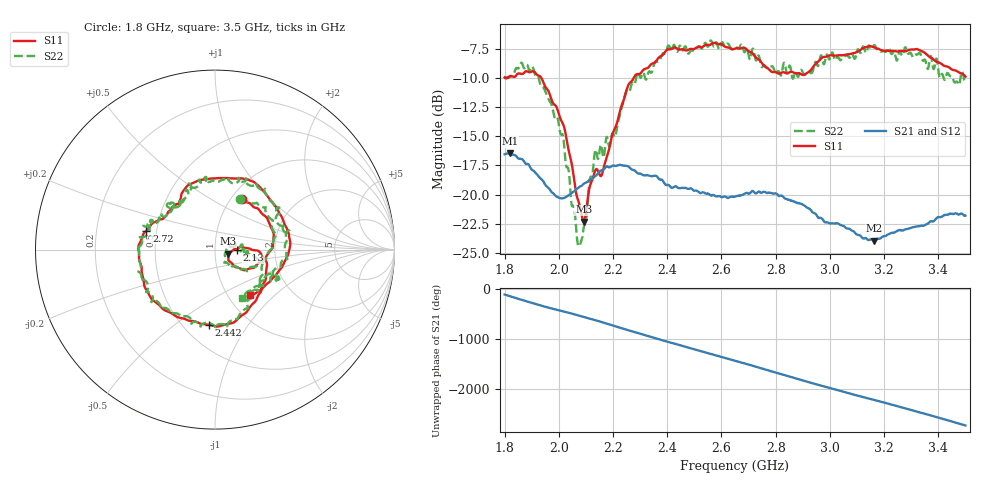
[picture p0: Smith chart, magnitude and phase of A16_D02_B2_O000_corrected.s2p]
! Created with skrf 1.9.0 (http://scikit-rf.org).
# Hz S RI R 50.0
!freq ReS11 ImS11 ReS21 ImS21 ReS12 ImS12 ReS22 ImS22
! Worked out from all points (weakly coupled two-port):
!   1601 points, 1.8 GHz to 3.5 GHz, reference 50 ohm
!   highest |S21| = -16.46 dB at 1.82 GHz (marker M1); lowest = -24.0 dB at 3.163 GHz (marker M2)
!   lowest |S11| = -22.3 dB at 2.092 GHz (marker M3), VSWR 1.17, Z = 57.8 - j2.66 ohm
!   |S11| at or under -10 dB: 1.803796 GHz to 1.809663 GHz (5.867 MHz wide, 0.325 % of centre); 1.936 GHz to 2.276 GHz (339.8 MHz wide, 16.1 % of centre)
!   |S22| runs from -24.4 to -6.8 dB; largest |S21 - S12| = 0.0026
!   S11 on the Smith chart (normalised r, x): 1.8 GHz: 1.12, +0.70; 2.13 GHz: 1.28, -0.01; 2.442 GHz: 0.66, -0.67; 2.72 GHz: 0.44, +0.11; 3.5 GHz: 1.26, -0.72
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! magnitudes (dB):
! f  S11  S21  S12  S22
! 1.8 GHz  -9.9  -16.5  -16.5  -10.0
! 1.82 GHz  -9.8  -16.5  -16.5  -9.9
! 1.902 GHz  -9.4  -17.9  -17.8  -9.0
! 1.967 GHz  -11.4  -19.6  -19.6  -12.0
! 2.02 GHz  -14.2  -20.3  -20.3  -15.9
! 2.07 GHz  -20.4  -19.4  -19.5  -24.2
! 2.084 GHz  -21.7  -19.3  -19.2  -23.9
! 2.092 GHz  -22.3  -19.1  -19.1  -22.8
! 2.13 GHz  -18.2  -18.5  -18.5  -16.8
! 2.161 GHz  -18.1  -17.9  -17.8  -16.4
! 2.209 GHz  -14.2  -17.6  -17.5  -15.0
! 2.259 GHz  -10.5  -17.6  -17.6  -11.2
! 2.367 GHz  -8.3  -18.6  -18.5  -8.6
! 2.442 GHz  -7.5  -19.4  -19.4  -7.4
! 2.65 GHz  -7.5  -20.2  -20.1  -7.3
! 2.72 GHz  -8.0  -19.8  -19.7  -7.8
! 2.808 GHz  -9.6  -20.0  -20.0  -9.4
! 2.934 GHz  -9.2  -21.5  -21.4  -9.5
! 3.163 GHz  -7.3  -24.0  -23.9  -7.2
! 3.217 GHz  -7.7  -23.4  -23.4  -7.4
! 3.327 GHz  -7.5  -22.7  -22.7  -7.9
! 3.5 GHz  -9.9  -21.8  -21.8  -10.2
